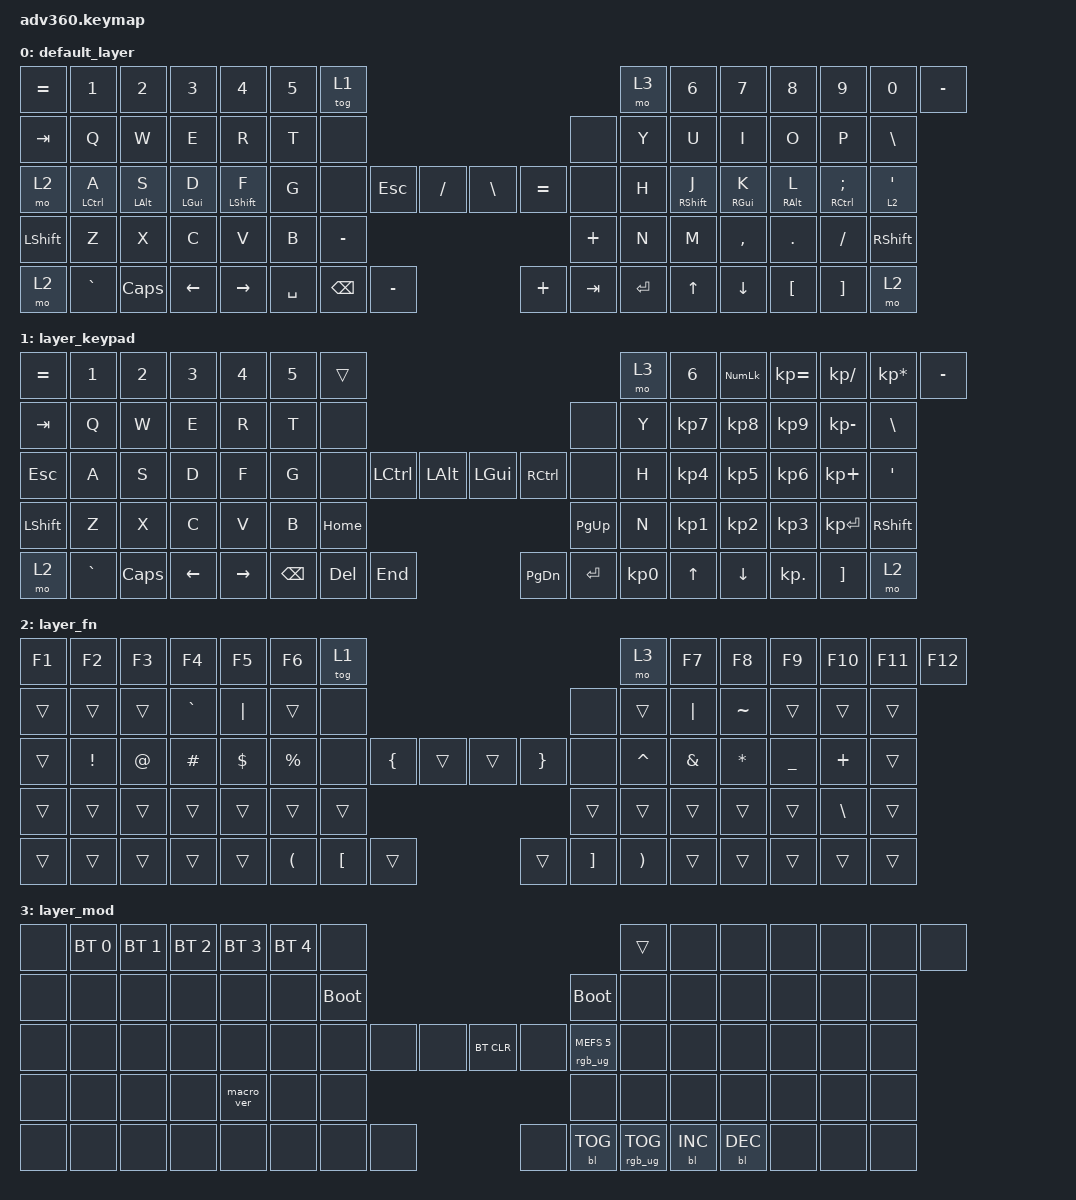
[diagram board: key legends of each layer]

/*
 * Copyright (c) 2020 The ZMK Contributors
 *
 * SPDX-License-Identifier: MIT
 */


/* THIS FILE WAS GENERATED!
 *
 * This file was generated automatically. You may or may not want to
 * edit it directly.
 */

#include <behaviors.dtsi>
#include <dt-bindings/zmk/keys.h>
#include <dt-bindings/zmk/bt.h>
#include <dt-bindings/zmk/rgb.h>
#include <dt-bindings/zmk/backlight.h>

/ {
  behaviors {
    #include "macros.dtsi"
    #include "version.dtsi"

    hm: homerow_mods {
        compatible = "zmk,behavior-hold-tap";
        label = "HOMEROW_MODS";
        #binding-cells = <2>;
        tapping-term-ms = <200>;
        quick_tap_ms = <175>;
        flavor = "tap-preferred";
        bindings = <&kp>, <&kp>;
    };
  };

    keymap {
        compatible = "zmk,keymap";


        default_layer {
            bindings = <
 &kp EQUAL              &kp N1          &kp N2          &kp N3            &kp N4  &kp N5               &tog 1                                                                          &mo 3  &kp N6             &kp N7           &kp N8           &kp N9                       &kp N0         &kp MINUS
   &kp TAB               &kp Q           &kp W           &kp E             &kp R   &kp T                &none                                                                          &none   &kp Y              &kp U            &kp I            &kp O                        &kp P          &kp BSLH
     &mo 2  &hm LEFT_CONTROL A  &hm LEFT_ALT S  &hm LEFT_GUI D  &hm LEFT_SHIFT F   &kp G                &none     &kp ESCAPE  &kp SLASH                  &kp BACKSLASH  &kp EQUAL      &none   &kp H  &hm RIGHT_SHIFT J  &hm RIGHT_GUI K  &hm RIGHT_ALT L  &hm RIGHT_CONTROL SEMICOLON  &lt 2 APOSTROPHE
 &kp LSHFT               &kp Z           &kp X           &kp C             &kp V   &kp B                                      &kp MINUS                       &kp PLUS                         &kp N              &kp M        &kp COMMA          &kp DOT                     &kp FSLH         &kp RSHFT
     &mo 2           &kp GRAVE        &kp CAPS        &kp LEFT         &kp RIGHT                    &kp SPACE  &kp BACKSPACE  &kp MINUS                       &kp PLUS    &kp TAB  &kp ENTER                     &kp UP         &kp DOWN         &kp LBKT                     &kp RBKT             &mo 2
            >;
        };

        layer_keypad {
            bindings = <
 &kp EQUAL     &kp N1    &kp N2    &kp N3     &kp N4  &kp N5              &trans                                                                 &mo 3  &kp N6  &kp KP_NUM  &kp KP_EQUAL  &kp KP_DIVIDE  &kp KP_MULTIPLY  &kp MINUS
   &kp TAB      &kp Q     &kp W     &kp E      &kp R   &kp T               &none                                                                 &none   &kp Y   &kp KP_N7     &kp KP_N8      &kp KP_N9     &kp KP_MINUS   &kp BSLH
   &kp ESC      &kp A     &kp S     &kp D      &kp F   &kp G               &none  &kp LCTRL  &kp LALT                   &kp LGUI  &kp RCTRL      &none   &kp H   &kp KP_N4     &kp KP_N5      &kp KP_N6      &kp KP_PLUS    &kp SQT
 &kp LSHFT      &kp Z     &kp X     &kp C      &kp V   &kp B                                 &kp HOME                  &kp PG_UP                         &kp N   &kp KP_N1     &kp KP_N2      &kp KP_N3     &kp KP_ENTER  &kp RSHFT
     &mo 2  &kp GRAVE  &kp CAPS  &kp LEFT  &kp RIGHT                    &kp BSPC    &kp DEL   &kp END                  &kp PG_DN  &kp ENTER  &kp KP_N0              &kp UP      &kp DOWN     &kp KP_DOT         &kp RBKT      &mo 2
            >;
        };

        layer_fn {
            bindings = <
 &kp F1           &kp F2       &kp F3     &kp F4      &kp F5       &kp F6                          &tog 1                                                                                       &mo 3     &kp F7         &kp F8     &kp F9         &kp F10        &kp F11  &kp F12
 &trans           &trans       &trans  &kp GRAVE    &kp PIPE       &trans                           &none                                                                                       &none     &trans       &kp PIPE  &kp TILDE          &trans         &trans   &trans
 &trans  &kp EXCLAMATION  &kp AT_SIGN  &kp POUND  &kp DOLLAR  &kp PERCENT                           &none    &kp LEFT_BRACE  &trans                  &trans    &kp RIGHT_BRACE                  &none  &kp CARET  &kp AMPERSAND   &kp STAR  &kp UNDERSCORE       &kp PLUS   &trans
 &trans           &trans       &trans     &trans      &trans       &trans                                                    &trans                  &trans                                               &trans         &trans     &trans          &trans  &kp BACKSLASH   &trans
 &trans           &trans       &trans     &trans      &trans                         &kp LEFT_PARENTHESIS  &kp LEFT_BRACKET  &trans                  &trans  &kp RIGHT_BRACKET  &kp RIGHT_PARENTHESIS                    &trans     &trans          &trans         &trans   &trans
            >;
        };

        layer_mod {
            bindings = <
  &none  &bt BT_SEL 0  &bt BT_SEL 1  &bt BT_SEL 2  &bt BT_SEL 3  &bt BT_SEL 4                  &none                                                                          &trans   &none       &none       &none   &none   &none   &none
  &none         &none         &none         &none         &none         &none            &bootloader                                                                     &bootloader   &none       &none       &none   &none   &none   &none
  &none         &none         &none         &none         &none         &none                  &none   &none   &none                  &bt BT_CLR       &none  &rgb_ug RGB_MEFS_CMD 5   &none       &none       &none   &none   &none   &none
  &none         &none         &none         &none    &macro_ver         &none                                  &none                       &none                                       &none       &none       &none   &none   &none   &none
  &none         &none         &none         &none         &none                                &none   &none   &none                       &none  &bl BL_TOG         &rgb_ug RGB_TOG          &bl BL_INC  &bl BL_DEC   &none   &none   &none
            >;
        };

    };
};
